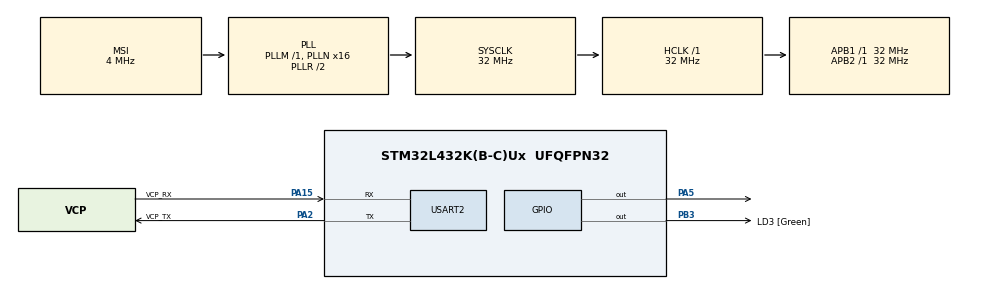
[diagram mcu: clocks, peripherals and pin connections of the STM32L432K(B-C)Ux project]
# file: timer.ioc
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Mcu.Family=STM32L4
Mcu.Name=STM32L432K(B-C)Ux
Mcu.Package=UFQFPN32
NVIC.PriorityGroup=NVIC_PRIORITYGROUP_4
NVIC.TIM1_UP_TIM16_IRQn=true\:0\:0\:false\:false\:true\:true\:true
NVIC.TIM6_DAC_IRQn=true\:0\:0\:false\:false\:true\:true\:true
PA0.GPIO_Label=MCO [High speed clock in]
PA0.Mode=HSE-External-Clock-Source-for-LittleOrca
PA0.Signal=RCC_CK_IN
PA13\ (JTMS-SWDIO).GPIO_Label=SWDIO
PA13\ (JTMS-SWDIO).Mode=Serial_Wire
PA13\ (JTMS-SWDIO).Signal=SYS_JTMS-SWDIO
PA14\ (JTCK-SWCLK).GPIO_Label=SWCLK
PA14\ (JTCK-SWCLK).Mode=Serial_Wire
PA14\ (JTCK-SWCLK).Signal=SYS_JTCK-SWCLK
PA15\ (JTDI).GPIO_Label=VCP_RX
PA15\ (JTDI).Mode=Asynchronous
PA15\ (JTDI).Signal=USART2_RX
PA2.GPIO_Label=VCP_TX
PA2.Mode=Asynchronous
PA2.Signal=USART2_TX
PA5.Signal=GPIO_Output
PB3\ (JTDO-TRACESWO).GPIO_Label=LD3 [Green]
PB3\ (JTDO-TRACESWO).Signal=GPIO_Output
PC14-OSC32_IN\ (PC14).Mode=LSE-External-Oscillator
PC14-OSC32_IN\ (PC14).Signal=RCC_OSC32_IN
PC15-OSC32_OUT\ (PC15).Mode=LSE-External-Oscillator
PC15-OSC32_OUT\ (PC15).Signal=RCC_OSC32_OUT
ProjectManager.HeapSize=0x200
ProjectManager.StackSize=0x400
ProjectManager.TargetToolchain=STM32CubeIDE
RCC.AHBFreq_Value=32000000
RCC.APB1Freq_Value=32000000
RCC.APB1TimFreq_Value=32000000
RCC.APB2Freq_Value=32000000
RCC.APB2TimFreq_Value=32000000
RCC.CortexFreq_Value=32000000
RCC.HCLKFreq_Value=32000000
RCC.HSE_VALUE=8000000
RCC.HSI16_VALUE=16000000
RCC.HSI48_VALUE=48000000
RCC.HSI_VALUE=16000000
RCC.MSI_VALUE=4000000
RCC.PLLMUL=RCC_PLLMUL_4
RCC.PLLN=16
RCC.SYSCLKFreq_VALUE=32000000
RCC.SYSCLKSource=RCC_SYSCLKSOURCE_PLLCLK
RCC.VCOOutputFreq_Value=64000000
TIM16.AutoReloadPreload=TIM_AUTORELOAD_PRELOAD_ENABLE
TIM16.Period=1000
TIM16.Prescaler=32
TIM6.AutoReloadPreload=TIM_AUTORELOAD_PRELOAD_ENABLE
TIM6.Period=1000
TIM6.Prescaler=32000
USART2.VirtualMode-Asynchronous=VM_ASYNC
VP_TIM16_VS_ClockSourceINT.Mode=Enable_Timer
VP_TIM16_VS_OPM.Mode=OPM_bit
VP_TIM6_VS_ClockSourceINT.Mode=Enable_Timer
VP_TIM6_VS_OPM.Mode=OPM_bit
board=NUCLEO-L432KC

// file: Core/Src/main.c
/* USER CODE BEGIN Header */
/**
  ******************************************************************************
  * @file           : main.c
  * @brief          : Main program body
  ******************************************************************************
  * @attention
  *
  * <h2><center>&copy; Copyright (c) 2020 STMicroelectronics.
  * All rights reserved.</center></h2>
  *
  * This software component is licensed by ST under BSD 3-Clause license,
  * the "License"; You may not use this file except in compliance with the
  * License. You may obtain a copy of the License at:
  *                        opensource.org/licenses/BSD-3-Clause
  *
  ******************************************************************************
  */
/* USER CODE END Header */
#include "main.h"

/* USER CODE BEGIN Includes */
#include <timeout.h>

/* USER CODE END Includes */

TIM_HandleTypeDef htim6;
TIM_HandleTypeDef htim16;

UART_HandleTypeDef huart2;

void SystemClock_Config(void);
static void MX_GPIO_Init(void);
static void MX_USART2_UART_Init(void);
static void MX_TIM16_Init(void);
static void MX_TIM6_Init(void);

/* USER CODE BEGIN 0 */

void toogle()
{
	HAL_GPIO_WritePin(GPIOA, GPIO_PIN_5, GPIO_PIN_SET);
	//HAL_GPIO_TogglePin(LD3_GPIO_Port, LD3_Pin);
}
/* USER CODE END 0 */

int main(void)
{

  /* MCU Configuration--------------------------------------------------------*/

  /* Reset of all peripherals, Initializes the Flash interface and the Systick. */
  HAL_Init();

  /* Configure the system clock */
  SystemClock_Config();

  /* Initialize all configured peripherals */
  MX_GPIO_Init();
  MX_USART2_UART_Init();
  MX_TIM16_Init();
  MX_TIM6_Init();
  /* USER CODE BEGIN 2 */

  /*
  HAL_GPIO_WritePin(GPIOA, GPIO_PIN_5, GPIO_PIN_SET);
  _tim_timeout_blocking(3, '1');
  HAL_GPIO_WritePin(GPIOA, GPIO_PIN_5, GPIO_PIN_RESET);
  */
  HAL_GPIO_WritePin(LD3_GPIO_Port, LD3_Pin, GPIO_PIN_SET);
  HAL_Delay(500);
  HAL_GPIO_WritePin(LD3_GPIO_Port, LD3_Pin, GPIO_PIN_RESET);
  HAL_Delay(500);
  HAL_GPIO_WritePin(LD3_GPIO_Port, LD3_Pin, GPIO_PIN_SET);

  _tim_timeout_nonblocking_with_callback(500, 'm', *toogle);
  _tim_timeout_blocking(2, '1');
  HAL_GPIO_TogglePin(LD3_GPIO_Port, LD3_Pin);
  _tim_timeout_blocking(2, '1');
    HAL_GPIO_TogglePin(LD3_GPIO_Port, LD3_Pin);
    _tim_timeout_blocking(2, '1');
      HAL_GPIO_TogglePin(LD3_GPIO_Port, LD3_Pin);

  /* USER CODE END 2 */

  /* Infinite loop */
  while (1)
  {

  }
}

void SystemClock_Config(void)
{
  RCC_OscInitTypeDef RCC_OscInitStruct = {0};
  RCC_ClkInitTypeDef RCC_ClkInitStruct = {0};
  RCC_PeriphCLKInitTypeDef PeriphClkInit = {0};

  /** Configure LSE Drive Capability
  */
  HAL_PWR_EnableBkUpAccess();
  __HAL_RCC_LSEDRIVE_CONFIG(RCC_LSEDRIVE_LOW);
  /** Initializes the RCC Oscillators according to the specified parameters
  * in the RCC_OscInitTypeDef structure.
  */
  RCC_OscInitStruct.OscillatorType = RCC_OSCILLATORTYPE_LSE|RCC_OSCILLATORTYPE_MSI;
  RCC_OscInitStruct.LSEState = RCC_LSE_ON;
  RCC_OscInitStruct.MSIState = RCC_MSI_ON;
  RCC_OscInitStruct.MSICalibrationValue = 0;
  RCC_OscInitStruct.MSIClockRange = RCC_MSIRANGE_6;
  RCC_OscInitStruct.PLL.PLLState = RCC_PLL_ON;
  RCC_OscInitStruct.PLL.PLLSource = RCC_PLLSOURCE_MSI;
  RCC_OscInitStruct.PLL.PLLM = 1;
  RCC_OscInitStruct.PLL.PLLN = 16;
  RCC_OscInitStruct.PLL.PLLP = RCC_PLLP_DIV7;
  RCC_OscInitStruct.PLL.PLLQ = RCC_PLLQ_DIV2;
  RCC_OscInitStruct.PLL.PLLR = RCC_PLLR_DIV2;
  if (HAL_RCC_OscConfig(&RCC_OscInitStruct) != HAL_OK)
  {
    Error_Handler();
  }
  /** Initializes the CPU, AHB and APB buses clocks
  */
  RCC_ClkInitStruct.ClockType = RCC_CLOCKTYPE_HCLK|RCC_CLOCKTYPE_SYSCLK
                              |RCC_CLOCKTYPE_PCLK1|RCC_CLOCKTYPE_PCLK2;
  RCC_ClkInitStruct.SYSCLKSource = RCC_SYSCLKSOURCE_PLLCLK;
  RCC_ClkInitStruct.AHBCLKDivider = RCC_SYSCLK_DIV1;
  RCC_ClkInitStruct.APB1CLKDivider = RCC_HCLK_DIV1;
  RCC_ClkInitStruct.APB2CLKDivider = RCC_HCLK_DIV1;

  if (HAL_RCC_ClockConfig(&RCC_ClkInitStruct, FLASH_LATENCY_1) != HAL_OK)
  {
    Error_Handler();
  }
  PeriphClkInit.PeriphClockSelection = RCC_PERIPHCLK_USART2;
  PeriphClkInit.Usart2ClockSelection = RCC_USART2CLKSOURCE_PCLK1;
  if (HAL_RCCEx_PeriphCLKConfig(&PeriphClkInit) != HAL_OK)
  {
    Error_Handler();
  }
  /** Configure the main internal regulator output voltage
  */
  if (HAL_PWREx_ControlVoltageScaling(PWR_REGULATOR_VOLTAGE_SCALE1) != HAL_OK)
  {
    Error_Handler();
  }
  /** Enable MSI Auto calibration
  */
  HAL_RCCEx_EnableMSIPLLMode();
}

static void MX_TIM6_Init(void)
{

  TIM_MasterConfigTypeDef sMasterConfig = {0};

  htim6.Instance = TIM6;
  htim6.Init.Prescaler = 32000;
  htim6.Init.CounterMode = TIM_COUNTERMODE_UP;
  htim6.Init.Period = 1000;
  htim6.Init.AutoReloadPreload = TIM_AUTORELOAD_PRELOAD_ENABLE;
  if (HAL_TIM_Base_Init(&htim6) != HAL_OK)
  {
    Error_Handler();
  }
  if (HAL_TIM_OnePulse_Init(&htim6, TIM_OPMODE_SINGLE) != HAL_OK)
  {
    Error_Handler();
  }
  sMasterConfig.MasterOutputTrigger = TIM_TRGO_RESET;
  sMasterConfig.MasterSlaveMode = TIM_MASTERSLAVEMODE_DISABLE;
  if (HAL_TIMEx_MasterConfigSynchronization(&htim6, &sMasterConfig) != HAL_OK)
  {
    Error_Handler();
  }

}

static void MX_TIM16_Init(void)
{

  htim16.Instance = TIM16;
  htim16.Init.Prescaler = 32;
  htim16.Init.CounterMode = TIM_COUNTERMODE_UP;
  htim16.Init.Period = 1000;
  htim16.Init.ClockDivision = TIM_CLOCKDIVISION_DIV1;
  htim16.Init.RepetitionCounter = 0;
  htim16.Init.AutoReloadPreload = TIM_AUTORELOAD_PRELOAD_ENABLE;
  if (HAL_TIM_Base_Init(&htim16) != HAL_OK)
  {
    Error_Handler();
  }
  if (HAL_TIM_OnePulse_Init(&htim16, TIM_OPMODE_SINGLE) != HAL_OK)
  {
    Error_Handler();
  }

}

static void MX_USART2_UART_Init(void)
{

  huart2.Instance = USART2;
  huart2.Init.BaudRate = 115200;
  huart2.Init.WordLength = UART_WORDLENGTH_8B;
  huart2.Init.StopBits = UART_STOPBITS_1;
  huart2.Init.Parity = UART_PARITY_NONE;
  huart2.Init.Mode = UART_MODE_TX_RX;
  huart2.Init.HwFlowCtl = UART_HWCONTROL_NONE;
  huart2.Init.OverSampling = UART_OVERSAMPLING_16;
  huart2.Init.OneBitSampling = UART_ONE_BIT_SAMPLE_DISABLE;
  huart2.AdvancedInit.AdvFeatureInit = UART_ADVFEATURE_NO_INIT;
  if (HAL_UART_Init(&huart2) != HAL_OK)
  {
    Error_Handler();
  }

}

static void MX_GPIO_Init(void)
{
  GPIO_InitTypeDef GPIO_InitStruct = {0};

  /* GPIO Ports Clock Enable */
  __HAL_RCC_GPIOC_CLK_ENABLE();
  __HAL_RCC_GPIOA_CLK_ENABLE();
  __HAL_RCC_GPIOB_CLK_ENABLE();

  /*Configure GPIO pin Output Level */
  HAL_GPIO_WritePin(GPIOA, GPIO_PIN_5, GPIO_PIN_RESET);

  /*Configure GPIO pin Output Level */
  HAL_GPIO_WritePin(LD3_GPIO_Port, LD3_Pin, GPIO_PIN_RESET);

  /*Configure GPIO pin : PA5 */
  GPIO_InitStruct.Pin = GPIO_PIN_5;
  GPIO_InitStruct.Mode = GPIO_MODE_OUTPUT_PP;
  GPIO_InitStruct.Pull = GPIO_NOPULL;
  GPIO_InitStruct.Speed = GPIO_SPEED_FREQ_LOW;
  HAL_GPIO_Init(GPIOA, &GPIO_InitStruct);

  /*Configure GPIO pin : LD3_Pin */
  GPIO_InitStruct.Pin = LD3_Pin;
  GPIO_InitStruct.Mode = GPIO_MODE_OUTPUT_PP;
  GPIO_InitStruct.Pull = GPIO_NOPULL;
  GPIO_InitStruct.Speed = GPIO_SPEED_FREQ_LOW;
  HAL_GPIO_Init(LD3_GPIO_Port, &GPIO_InitStruct);

}

void Error_Handler(void)
{
}

/************************ (C) COPYRIGHT STMicroelectronics *****END OF FILE****/
